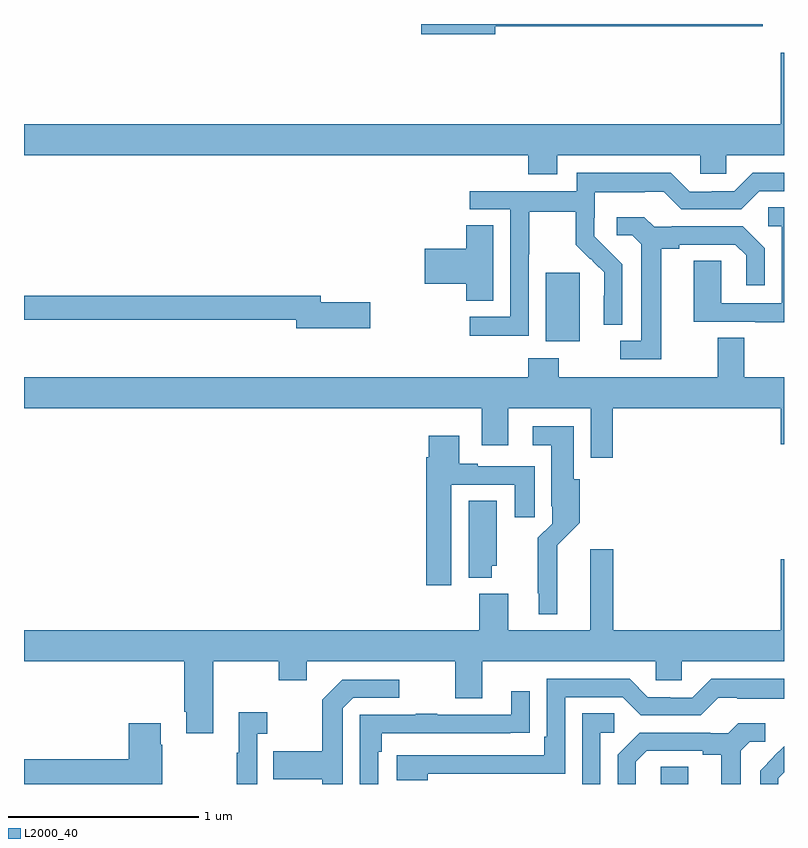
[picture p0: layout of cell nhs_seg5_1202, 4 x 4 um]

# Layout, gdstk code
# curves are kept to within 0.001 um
import gdstk
lib = gdstk.Library(unit=1e-6, precision=1e-09)
def R(c, l, rs):  # rectangles x0, y0, x1, y1
    for r in rs: c.add(gdstk.rectangle(r[:2], r[2:], *l))
def P(c, l, *ps):  # polygons
    for p in ps: c.add(gdstk.Polygon(p, *l))
L2000_40 = (2000, 40)

nhs_seg5_1202 = lib.new_cell('nhs_seg5_1202')
R(nhs_seg5_1202, L2000_40, [(188.352,838.799,188.497,838.889), (187.745,841.13,187.924,841.491)])
P(nhs_seg5_1202, L2000_40, [(187.48,842.788),(188.888,842.788),(188.888,842.799),(187.092,842.799),(187.092,842.746),(187.48,842.746)],
  [(187.807,842.108),(188.559,842.108),(188.559,842.01),(188.697,842.01),(188.697,842.108),(189,842.108),(189,842.647),(188.984,842.647),(188.984,842.272),(185,842.272),(185,842.108),(187.655,842.108),(187.655,842.009),(187.807,842.009)],
  [(187.656,841.588),(187.659,841.588),(187.659,841.812),(187.903,841.812),(187.903,841.637),(187.98,841.56),(187.983,841.563),(188.054,841.493),(188.054,841.37),(188.052,841.37),(188.052,841.216),(188.148,841.216),(188.148,841.534),(188.002,841.682),(188.002,841.779),(188.004,841.779),(188.004,841.913),(188.267,841.913),(188.267,841.917),(188.367,841.917),(188.46,841.824),(188.775,841.824),(188.871,841.92),(189,841.92),(189,842.016),(188.835,842.016),(188.739,841.92),(188.621,841.92),(188.621,841.917),(188.505,841.917),(188.405,842.017),(187.908,842.017),(187.908,841.92),(187.347,841.92),(187.347,841.824),(187.56,841.824),(187.56,841.257),(187.347,841.257),(187.347,841.159),(187.656,841.159)],
  [(189,841.835),(188.916,841.835),(188.916,841.734),(188.988,841.734),(188.988,841.329),(188.67,841.329),(188.67,841.553),(188.525,841.553),(188.525,841.233),(188.849,841.233),(188.849,841.229),(189,841.229)],
  [(188.353,841.616),(188.449,841.616),(188.449,841.638),(188.744,841.638),(188.801,841.581),(188.801,841.425),(188.898,841.425),(188.898,841.618),(188.782,841.734),(188.41,841.734),(188.41,841.731),(188.316,841.731),(188.264,841.783),(188.121,841.783),(188.121,841.686),(188.202,841.686),(188.249,841.639),(188.249,841.131),(188.139,841.131),(188.139,841.035),(188.353,841.035)],
  [(187.471,841.739),(187.328,841.739),(187.328,841.616),(187.11,841.616),(187.11,841.433),(187.328,841.433),(187.328,841.342),(187.471,841.342)],
  [(186.823,841.334),(186.562,841.334),(186.562,841.37),(185,841.37),(185,841.242),(186.434,841.242),(186.434,841.199),(186.823,841.199)],
  [(188.099,840.776),(188.984,840.776),(188.984,840.588),(189,840.588),(189,840.94),(188.791,840.94),(188.791,841.148),(188.651,841.148),(188.651,840.94),(187.815,840.94),(187.815,841.039),(187.655,841.039),(187.655,840.94),(185,840.94),(185,840.776),(187.409,840.776),(187.409,840.582),(187.549,840.582),(187.549,840.776),(187.983,840.776),(187.983,840.516),(188.099,840.516)],
  [(187.807,840.056),(187.925,840.174),(187.925,840.402),(187.894,840.402),(187.894,840.682),(187.677,840.682),(187.677,840.581),(187.775,840.581),(187.775,840.262),(187.779,840.262),(187.779,840.168),(187.705,840.094),(187.705,839.803),(187.709,839.803),(187.709,839.693),(187.807,839.693)],
  [(187.249,840.375),(187.583,840.375),(187.583,840.204),(187.687,840.204),(187.687,840.471),(187.387,840.471),(187.387,840.484),(187.291,840.484),(187.291,840.631),(187.13,840.631),(187.13,840.518),(187.118,840.518),(187.118,839.844),(187.249,839.844)],
  [(187.462,839.949),(187.489,839.949),(187.489,840.29),(187.34,840.29),(187.34,839.885),(187.462,839.885)],
  [(188.325,839.346),(188.463,839.346),(188.463,839.444),(189,839.444),(189,839.983),(188.984,839.983),(188.984,839.608),(188.102,839.608),(188.102,840.034),(187.979,840.034),(187.979,839.608),(187.549,839.608),(187.549,839.8),(187.397,839.8),(187.397,839.608),(185,839.608),(185,839.444),(185.843,839.444),(185.843,839.179),(185.855,839.179),(185.855,839.067),(185.995,839.067),(185.995,839.444),(186.34,839.444),(186.34,839.345),(186.487,839.345),(186.487,839.444),(187.271,839.444),(187.271,839.25),(187.411,839.25),(187.411,839.444),(188.325,839.444)],
  [(187.124,838.854),(187.848,838.854),(187.848,839.256),(188.151,839.256),(188.247,839.16),(188.562,839.16),(188.655,839.253),(188.755,839.253),(188.755,839.249),(189,839.249),(189,839.353),(188.617,839.353),(188.517,839.253),(188.402,839.253),(188.402,839.256),(188.283,839.256),(188.187,839.352),(187.752,839.352),(187.752,839.047),(187.739,839.047),(187.739,838.95),(186.963,838.95),(186.963,838.82),(187.124,838.82)],
  [(186.678,839.199),(186.732,839.253),(186.976,839.253),(186.976,839.349),(186.675,839.349),(186.57,839.243),(186.57,838.971),(186.313,838.971),(186.313,838.823),(186.57,838.823),(186.57,838.799),(186.678,838.799)],
  [(186.864,838.97),(186.884,838.97),(186.884,839.067),(187.559,839.067),(187.559,839.068),(187.661,839.068),(187.661,839.287),(187.565,839.287),(187.565,839.163),(187.175,839.163),(187.175,839.168),(187.063,839.168),(187.063,839.163),(186.768,839.163),(186.768,838.799),(186.864,838.799)],
  [(186.228,839.063),(186.28,839.063),(186.28,839.176),(186.131,839.176),(186.131,838.963),(186.12,838.963),(186.12,838.799),(186.228,838.799)],
  [(188.034,839.07),(188.107,839.07),(188.107,839.171),(187.938,839.171),(187.938,838.799),(188.034,838.799)],
  [(188.221,838.917),(188.278,838.974),(188.573,838.974),(188.573,838.952),(188.669,838.952),(188.669,838.799),(188.773,838.799),(188.773,838.975),(188.82,839.022),(188.902,839.022),(188.902,839.119),(188.758,839.119),(188.706,839.067),(188.612,839.067),(188.612,839.07),(188.24,839.07),(188.124,838.954),(188.124,838.799),(188.221,838.799)],
  [(185.727,839.006),(185.719,839.006),(185.719,839.119),(185.552,839.119),(185.552,838.928),(185,838.928),(185,838.799),(185.727,838.799)],
  [(188.969,838.829),(189,838.86),(189,838.998),(188.946,838.944),(188.947,838.943),(188.874,838.87),(188.874,838.799),(188.969,838.799)])

lib.write_gds('nhs_seg5_1202.gds')
